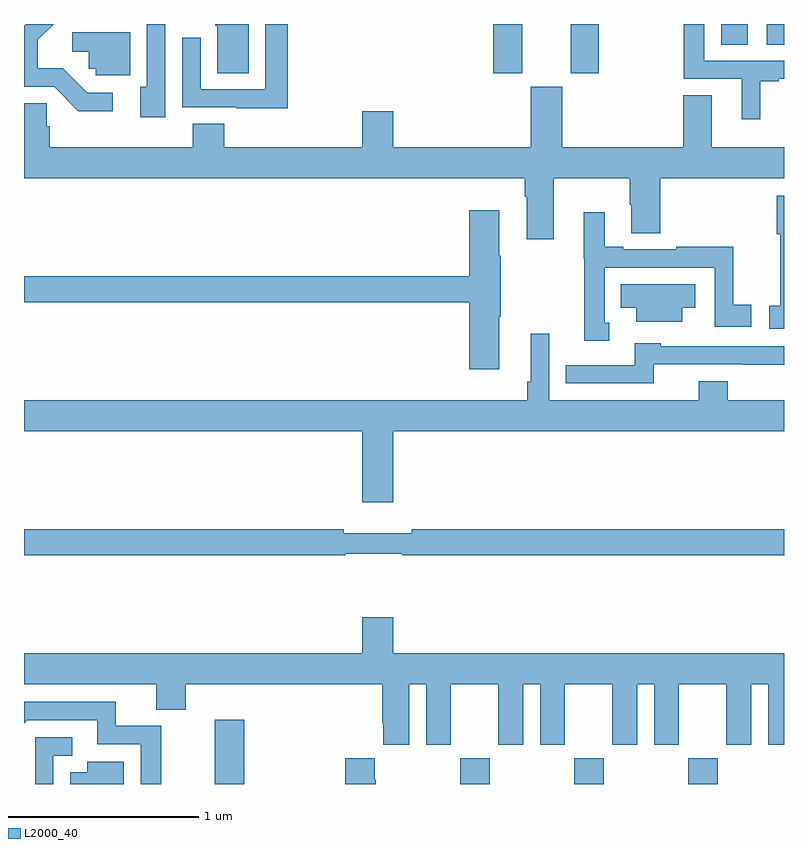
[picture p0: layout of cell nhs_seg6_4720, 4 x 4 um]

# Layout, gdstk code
import gdstk
lib = gdstk.Library(unit=1e-6, precision=1e-09)
def R(c, l, rs):  # rectangles x0, y0, x1, y1
    for r in rs: c.add(gdstk.rectangle(r[:2], r[2:], *l))
def A(c, l, x, y, w, h, nx, ny, dx, dy):  # array of equal rectangles
    R(c, l, [(x+i*dx, y+j*dy, x+i*dx+w, y+j*dy+h) for i in range(nx) for j in range(ny)])
def P(c, l, *ps):  # polygons
    for p in ps: c.add(gdstk.Polygon(p, *l))
L2000_40 = (2000, 40)

nhs_seg6_4720 = lib.new_cell('nhs_seg6_4720')
A(nhs_seg6_4720, L2000_40, 393.295, 925.5, 0.155, 0.136, 3, 1, 0.6, 0)
R(nhs_seg6_4720, L2000_40, [(392.005,925.5,392.159,925.837), (393.47,929.241,393.622,929.5), (393.878,929.241,394.026,929.5), (394.67,929.392,394.81,929.5), (394.91,929.392,395,929.5)])
P(nhs_seg6_4720, L2000_40, [(392.387,929.5),(392.271,929.5),(392.271,929.157),(391.929,929.157),(391.929,929.428),(391.833,929.428),(391.833,929.061),(392.117,929.061),(392.117,929.057),(392.387,929.057)],
  [(394.876,929.199),(394.972,929.199),(394.972,929.211),(395,929.211),(395,929.307),(394.581,929.307),(394.581,929.5),(394.473,929.5),(394.473,929.211),(394.778,929.211),(394.778,928.998),(394.876,928.998)],
  [(391.743,929.5),(391.647,929.5),(391.647,929.17),(391.613,929.17),(391.613,929.01),(391.743,929.01)],
  [(391.468,929.139),(391.332,929.139),(391.205,929.266),(391.072,929.266),(391.072,929.416),(391.156,929.5),(391.008,929.5),(391,929.492),(391,929.169),(391.158,929.169),(391.286,929.042),(391.468,929.042)],
  [(392.182,929.5),(392.006,929.5),(392.006,929.49),(392.018,929.49),(392.018,929.242),(392.182,929.242)],
  [(391.558,929.457),(391.254,929.457),(391.254,929.354),(391.341,929.354),(391.341,929.265),(391.377,929.265),(391.377,929.229),(391.558,929.229)],
  [(393.635,928.592),(393.647,928.592),(393.647,928.368),(393.787,928.368),(393.787,928.688),(394.189,928.688),(394.189,928.55),(394.196,928.55),(394.196,928.399),(394.349,928.399),(394.349,928.688),(395,928.688),(395,928.852),(394.621,928.852),(394.621,929.126),(394.469,929.126),(394.469,928.852),(393.832,928.852),(393.832,929.169),(393.668,929.169),(393.668,928.852),(392.944,928.852),(392.944,929.041),(392.78,929.041),(392.78,928.852),(392.054,928.852),(392.054,928.976),(391.889,928.976),(391.889,928.852),(391.136,928.852),(391.136,928.962),(391.121,928.962),(391.121,929.084),(391,929.084),(391,928.688),(393.635,928.688)],
  [(395,928.596),(394.963,928.596),(394.963,928.393),(394.981,928.393),(394.981,928.017),(394.923,928.017),(394.923,927.897),(395,927.897)],
  [(393.502,927.959),(393.51,927.959),(393.51,928.28),(393.502,928.28),(393.502,928.519),(393.344,928.519),(393.344,928.172),(391,928.172),(391,928.036),(393.344,928.036),(393.344,927.684),(393.502,927.684)],
  [(394.081,927.927),(394.056,927.927),(394.056,928.218),(394.635,928.218),(394.635,927.906),(394.828,927.906),(394.828,928.022),(394.734,928.022),(394.734,928.327),(394.432,928.327),(394.432,928.314),(394.153,928.314),(394.153,928.327),(394.057,928.327),(394.057,928.51),(393.947,928.51),(393.947,928.265),(393.948,928.265),(393.948,927.833),(394.081,927.833)],
  [(394.465,928.007),(394.534,928.007),(394.534,928.129),(394.141,928.129),(394.141,928.007),(394.223,928.007),(394.223,927.932),(394.465,927.932)],
  [(392.944,927.356),(395,927.356),(395,927.52),(394.703,927.52),(394.703,927.619),(394.55,927.619),(394.55,927.52),(393.765,927.52),(393.765,927.871),(393.668,927.871),(393.668,927.616),(393.649,927.616),(393.649,927.52),(391,927.52),(391,927.356),(392.78,927.356),(392.78,926.982),(392.944,926.982)],
  [(394.314,927.708),(394.786,927.708),(394.786,927.707),(395,927.707),(395,927.804),(394.35,927.804),(394.35,927.82),(394.214,927.82),(394.214,927.705),(393.85,927.705),(393.85,927.609),(394.314,927.609)],
  [(392.692,926.712),(392.992,926.712),(392.992,926.704),(395,926.704),(395,926.84),(393.04,926.84),(393.04,926.821),(392.684,926.821),(392.684,926.84),(391,926.84),(391,926.704),(392.692,926.704)],
  [(393.028,926.024),(393.116,926.024),(393.116,925.707),(393.247,925.707),(393.247,926.024),(393.497,926.024),(393.497,925.707),(393.628,925.707),(393.628,926.024),(393.716,926.024),(393.716,925.707),(393.847,925.707),(393.847,926.024),(394.097,926.024),(394.097,925.707),(394.228,925.707),(394.228,926.024),(394.316,926.024),(394.316,925.707),(394.447,925.707),(394.447,926.024),(394.697,926.024),(394.697,925.707),(394.828,925.707),(394.828,926.024),(394.916,926.024),(394.916,925.707),(395,925.707),(395,926.188),(392.944,926.188),(392.944,926.377),(392.78,926.377),(392.78,926.188),(391,926.188),(391,926.024),(391.697,926.024),(391.697,925.891),(391.85,925.891),(391.85,926.024),(392.885,926.024),(392.885,925.819),(392.891,925.819),(392.891,925.707),(393.028,925.707)],
  [(391.723,925.806),(391.484,925.806),(391.484,925.932),(391,925.932),(391,925.819),(391.017,925.836),(391.385,925.836),(391.385,925.71),(391.614,925.71),(391.614,925.5),(391.723,925.5)],
  [(391.155,925.65),(391.255,925.65),(391.255,925.746),(391.058,925.746),(391.058,925.5),(391.155,925.5)],
  [(392.85,925.523),(392.845,925.523),(392.845,925.636),(392.69,925.636),(392.69,925.5),(392.85,925.5)],
  [(391.525,925.618),(391.334,925.618),(391.334,925.561),(391.244,925.561),(391.244,925.5),(391.525,925.5)])

lib.write_gds('nhs_seg6_4720.gds')
